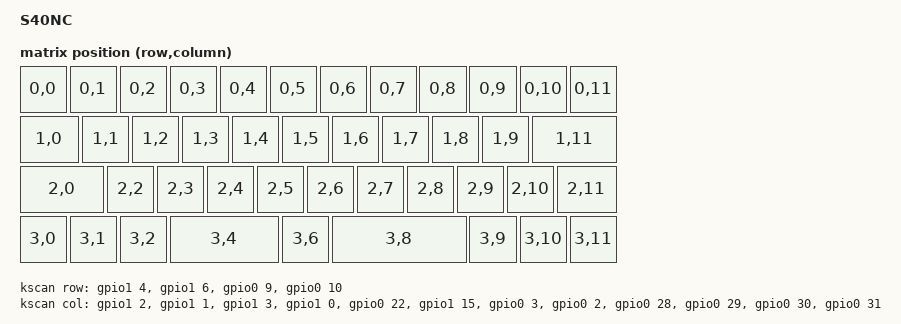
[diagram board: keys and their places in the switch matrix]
/*
 * Copyright (c) 2021 The ZMK Contributors
 *
 * SPDX-License-Identifier: MIT
 */

/dts-v1/;
#include <nordic/nrf52840_qiaa.dtsi>
#include <dt-bindings/zmk/matrix_transform.h>
#include <physical_layouts.dtsi>

/ {
    model = "S40NC";
    compatible = "s40nc";

    chosen {
        zephyr,code-partition = &code_partition;
        zephyr,sram = &sram0;
        zephyr,flash = &flash0;
        zmk,battery = &vbatt;
        zmk,kscan = &kscan;
        zmk,physical-layout = &default_layout;
    };

    default_transform: default_transform {
        compatible = "zmk,matrix-transform";
        columns = <12>;
        rows = <4>;
        map = <
            RC(0,0) RC(0,1) RC(0,2) RC(0,3) RC(0,4) RC(0,5) RC(0,6) RC(0,7) RC(0,8) RC(0,9) RC(0,10) RC(0,11)
            RC(1,0)  RC(1,1) RC(1,2) RC(1,3) RC(1,4) RC(1,5) RC(1,6) RC(1,7) RC(1,8) RC(1,9)         RC(1,11)
            RC(2,0)      RC(2,2)   RC(2,3) RC(2,4) RC(2,5) RC(2,6) RC(2,7) RC(2,8) RC(2,9) RC(2,10) RC(2,11)
            RC(3,0)  RC(3,1) RC(3,2)       RC(3,4)         RC(3,6)         RC(3,8) RC(3,9) RC(3,10) RC(3,11)
        >;
    };

    default_layout: default_layout {
        compatible = "zmk,physical-layout";
        display-name = "Default";
        transform = <&default_transform>;

        keys  //                     w   h    x    y     rot    rx    ry
            = <&key_physical_attrs 100 100    0    0       0     0     0>
            , <&key_physical_attrs 100 100  100    0       0     0     0>
            , <&key_physical_attrs 100 100  200    0       0     0     0>
            , <&key_physical_attrs 100 100  300    0       0     0     0>
            , <&key_physical_attrs 100 100  400    0       0     0     0>
            , <&key_physical_attrs 100 100  500    0       0     0     0>
            , <&key_physical_attrs 100 100  600    0       0     0     0>
            , <&key_physical_attrs 100 100  700    0       0     0     0>
            , <&key_physical_attrs 100 100  800    0       0     0     0>
            , <&key_physical_attrs 100 100  900    0       0     0     0>
            , <&key_physical_attrs 100 100 1000    0       0     0     0>
            , <&key_physical_attrs 100 100 1100    0       0     0     0>
            , <&key_physical_attrs 125 100    0  100       0     0     0>
            , <&key_physical_attrs 100 100  125  100       0     0     0>
            , <&key_physical_attrs 100 100  225  100       0     0     0>
            , <&key_physical_attrs 100 100  325  100       0     0     0>
            , <&key_physical_attrs 100 100  425  100       0     0     0>
            , <&key_physical_attrs 100 100  525  100       0     0     0>
            , <&key_physical_attrs 100 100  625  100       0     0     0>
            , <&key_physical_attrs 100 100  725  100       0     0     0>
            , <&key_physical_attrs 100 100  825  100       0     0     0>
            , <&key_physical_attrs 100 100  925  100       0     0     0>
            , <&key_physical_attrs 175 100 1025  100       0     0     0>
            , <&key_physical_attrs 175 100    0  200       0     0     0>
            , <&key_physical_attrs 100 100  175  200       0     0     0>
            , <&key_physical_attrs 100 100  275  200       0     0     0>
            , <&key_physical_attrs 100 100  375  200       0     0     0>
            , <&key_physical_attrs 100 100  475  200       0     0     0>
            , <&key_physical_attrs 100 100  575  200       0     0     0>
            , <&key_physical_attrs 100 100  675  200       0     0     0>
            , <&key_physical_attrs 100 100  775  200       0     0     0>
            , <&key_physical_attrs 100 100  875  200       0     0     0>
            , <&key_physical_attrs 100 100  975  200       0     0     0>
            , <&key_physical_attrs 125 100 1075  200       0     0     0>
            , <&key_physical_attrs 100 100    0  300       0     0     0>
            , <&key_physical_attrs 100 100  100  300       0     0     0>
            , <&key_physical_attrs 100 100  200  300       0     0     0>
            , <&key_physical_attrs 225 100  300  300       0     0     0>
            , <&key_physical_attrs 100 100  525  300       0     0     0>
            , <&key_physical_attrs 275 100  625  300       0     0     0>
            , <&key_physical_attrs 100 100  900  300       0     0     0>
            , <&key_physical_attrs 100 100 1000  300       0     0     0>
            , <&key_physical_attrs 100 100 1100  300       0     0     0>
            ;
    };

    kscan: kscan {
        compatible = "zmk,kscan-gpio-matrix";
        wakeup-source;

        diode-direction = "col2row";
        row-gpios
            = <&gpio1 4  (GPIO_ACTIVE_HIGH | GPIO_PULL_DOWN)>
            , <&gpio1 6  (GPIO_ACTIVE_HIGH | GPIO_PULL_DOWN)>
            , <&gpio0 9  (GPIO_ACTIVE_HIGH | GPIO_PULL_DOWN)>
            , <&gpio0 10 (GPIO_ACTIVE_HIGH | GPIO_PULL_DOWN)>
            ;
        col-gpios
            = <&gpio1 2  GPIO_ACTIVE_HIGH>
            , <&gpio1 1  GPIO_ACTIVE_HIGH>
            , <&gpio1 3  GPIO_ACTIVE_HIGH>
            , <&gpio1 0  GPIO_ACTIVE_HIGH>
            , <&gpio0 22 GPIO_ACTIVE_HIGH>
            , <&gpio1 15 GPIO_ACTIVE_HIGH>
            , <&gpio0 3  GPIO_ACTIVE_HIGH>
            , <&gpio0 2  GPIO_ACTIVE_HIGH>
            , <&gpio0 28 GPIO_ACTIVE_HIGH>
            , <&gpio0 29 GPIO_ACTIVE_HIGH>
            , <&gpio0 30 GPIO_ACTIVE_HIGH>
            , <&gpio0 31 GPIO_ACTIVE_HIGH>
            ;
    };

    leds {
        compatible = "gpio-leds";
        blue_led: led_0 {
            gpios = <&gpio0 21 GPIO_ACTIVE_HIGH>;
        };
    };

    vbatt: vbatt {
        compatible = "zmk,battery-voltage-divider";
        io-channels = <&adc 2>;
        output-ohms = <2000000>;
        full-ohms = <(2000000 + 820000)>;
    };
};

&adc {
    status = "okay";
};

&gpiote {
    status = "okay";
};

&gpio0 {
    status = "okay";
};

&gpio1 {
    status = "okay";
};

zephyr_udc0: &usbd {
    status = "okay";
};

&flash0 {
    /*
     * For more information, see:
     * http://docs.zephyrproject.org/latest/devices/dts/flash_partitions.html
     */
    partitions {
        compatible = "fixed-partitions";
        #address-cells = <1>;
        #size-cells = <1>;

        sd_partition: partition@0 {
            reg = <0x00000000 0x00001000>;
        };

        code_partition: partition@1000 {
            reg = <0x00001000 0x000d3000>;
        };

        /*
         * The flash starting at 0x000d4000 and ending at
         * 0x000f3fff is reserved for use by the application.
         */

        /*
         * Storage partition will be used by FCB/LittleFS/NVS
         * if enabled.
         */
        storage_partition: partition@d4000 {
            reg = <0x000d4000 0x00020000>;
        };

        boot_partition: partition@f4000 {
            reg = <0x000f4000 0x0000c000>;
        };
    };
};
